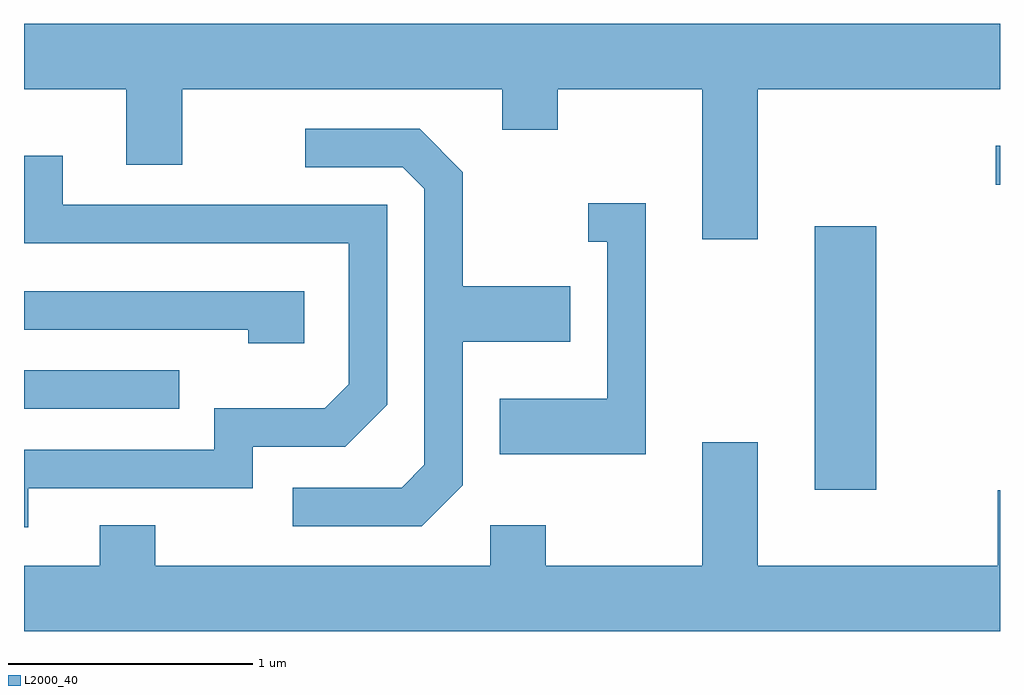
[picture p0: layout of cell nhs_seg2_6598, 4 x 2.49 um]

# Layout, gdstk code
import gdstk
lib = gdstk.Library(unit=1e-6, precision=1e-09)
def R(c, l, rs):  # rectangles x0, y0, x1, y1
    for r in rs: c.add(gdstk.rectangle(r[:2], r[2:], *l))
def P(c, l, *ps):  # polygons
    for p in ps: c.add(gdstk.Polygon(p, *l))
L2000_40 = (2000, 40)

nhs_seg2_6598 = lib.new_cell('nhs_seg2_6598')
R(nhs_seg2_6598, L2000_40, [(382.851,1051.116,383.104,1052.194), (379.611,1051.446,380.248,1051.604), (383.593,1052.366,383.611,1052.524)])
P(nhs_seg2_6598, L2000_40, [(382.619,1052.756),(383.611,1052.756),(383.611,1053.024),(379.611,1053.024),(379.611,1052.756),(380.031,1052.756),(380.031,1052.446),(380.259,1052.446),(380.259,1052.756),(381.571,1052.756),(381.571,1052.591),(381.799,1052.591),(381.799,1052.756),(382.391,1052.756),(382.391,1052.141),(382.619,1052.141)],
  [(381.409,1051.134),(381.409,1051.721),(381.849,1051.721),(381.849,1051.949),(381.409,1051.949),(381.409,1052.417),(381.232,1052.594),(380.763,1052.594),(380.763,1052.436),(381.164,1052.436),(381.251,1052.349),(381.251,1051.217),(381.159,1051.124),(380.713,1051.124),(380.713,1050.966),(381.242,1050.966)],
  [(379.629,1051.121),(380.549,1051.121),(380.549,1051.291),(380.927,1051.291),(381.099,1051.464),(381.099,1052.284),(379.769,1052.284),(379.769,1052.483),(379.611,1052.483),(379.611,1052.126),(380.941,1052.126),(380.941,1051.547),(380.844,1051.449),(380.391,1051.449),(380.391,1051.279),(379.611,1051.279),(379.611,1050.961),(379.629,1050.961)],
  [(382.159,1052.289),(381.923,1052.289),(381.923,1052.131),(382.001,1052.131),(382.001,1051.489),(381.561,1051.489),(381.561,1051.261),(382.159,1051.261)],
  [(380.759,1051.929),(379.611,1051.929),(379.611,1051.771),(380.531,1051.771),(380.531,1051.716),(380.759,1051.716)],
  [(383.611,1051.114),(383.601,1051.114),(383.601,1050.804),(382.619,1050.804),(382.619,1051.309),(382.391,1051.309),(382.391,1050.804),(381.749,1050.804),(381.749,1050.969),(381.521,1050.969),(381.521,1050.804),(380.149,1050.804),(380.149,1050.969),(379.921,1050.969),(379.921,1050.804),(379.611,1050.804),(379.611,1050.536),(383.611,1050.536)])

lib.write_gds('nhs_seg2_6598.gds')
